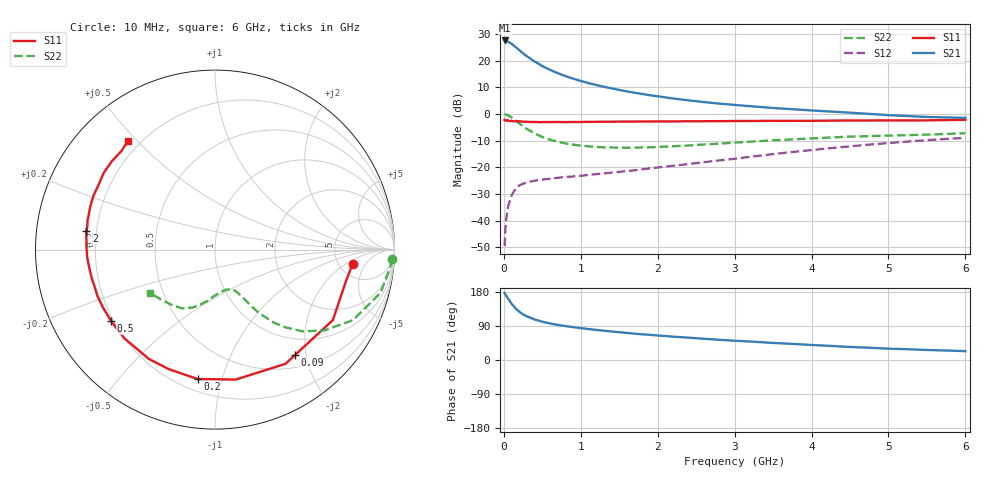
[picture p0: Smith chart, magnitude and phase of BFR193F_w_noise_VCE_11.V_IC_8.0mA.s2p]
! Infineon Technologies  Discrete & RF Semiconductors
! BFR193F
! VCE =  11. V,  IC =  8.0 mA
! Common Emitter S-Parameters:  Jan 2017
# GHz  S  MA  R  50
!  f  S11  S21  S12  S22
! GHz  MAG  ANG  MAG  ANG  MAG  ANG  MAG  ANG
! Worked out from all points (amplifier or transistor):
!   77 points, 10 MHz to 6 GHz, reference 50 ohm
!   highest |S21| = 27.6 dB at 10 MHz (marker M1)
!   |S21| within 3 dB of that: start of sweep to 175.3 MHz
!   unconditionally stable (mu >= 1): 1.652 GHz to 2.894 GHz
!   at 130 MHz: K = 0.14, MSG = 27.4 dB, |S12| = -29.1 dB
!   at 2.2 GHz: K = 1.05, MAG = 11.3 dB, |S12| = -19.5 dB
!   at 6 GHz: K = 0.77, MSG = 3.7 dB, |S12| = -9.0 dB
!   lowest NFmin = 0.84 dB at 450 MHz
!   S11 on the Smith chart (normalised r, x): 10 MHz: 6.69, -2.62; 90 MHz: 0.70, -1.80; 200 MHz: 0.27, -0.84; 500 MHz: 0.19, -0.30; 2 GHz: 0.16, +0.07; 6 GHz: 0.15, +0.47
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0.01  0.771 -5.9  23.88 176.8  0.0033 79.9  0.9867 -3.1
0.02  0.751 -13.2  23.6 173.0  0.0069 81.7  0.98 -6.0
0.05  0.7652 -30.9  22.97 163.3  0.0169 76.4  0.9535 -14.6
0.09  0.7375 -52.8  21.1 151.5  0.0268 65.6  0.8777 -24.4
0.1  0.7478 -58.3  20.79 148.3  0.0293 64.1  0.8632 -27.1
0.15  0.7332 -80.9  18.15 136.6  0.0388 54.9  0.7575 -36.5
0.2  0.7274 -97.7  15.77 127.4  0.0455 48.0  0.6645 -43.2
0.25  0.7141 -111.1  13.68 120.3  0.049 44.1  0.583 -47.9
0.3  0.712 -121.2  12.06 115.0  0.0522 41.0  0.5209 -51.2
0.4  0.7068 -135.7  9.595 106.7  0.0559 37.5  0.4286 -55.3
0.5  0.7023 -145.5  7.907 101.0  0.0586 37.3  0.3693 -57.5
0.6  0.7029 -152.8  6.711 96.4  0.0608 37.3  0.3283 -59.0
0.8  0.7018 -162.7  5.122 89.5  0.0654 39.5  0.2794 -61.7
0.9  0.7046 -166.6  4.589 86.8  0.067 41.2  0.2649 -62.9
1.1  0.7085 -172.4  3.789 81.7  0.0716 45.0  0.2468 -65.9
1.5  0.7158 179.5  2.815 73.4  0.0819 51.8  0.2327 -73.1
2  0.724 171.9  2.138 64.7  0.0988 60.0  0.2393 -83.2
2.1  0.7234 170.7  2.043 63.2  0.1025 61.2  0.2431 -84.9
3.1  0.7359 160.1  1.436 49.8  0.1504 70.1  0.2951 -100.1
4.1  0.7439 149.7  1.139 38.7  0.2169 72.1  0.3524 -113.2
5.1  0.7562 138.3  0.933 29.3  0.2916 68.6  0.3948 -130.2
6  0.7757 128.7  0.843 23.4  0.356 63.1  0.4349 -146.1
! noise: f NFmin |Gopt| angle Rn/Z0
0.45  0.84  0.25  124  0.08
0.9  0.99  0.4  147  0.07
1.9  1.74  0.61  -177  0.05
2.4  2.11  0.64  -167  0.08
